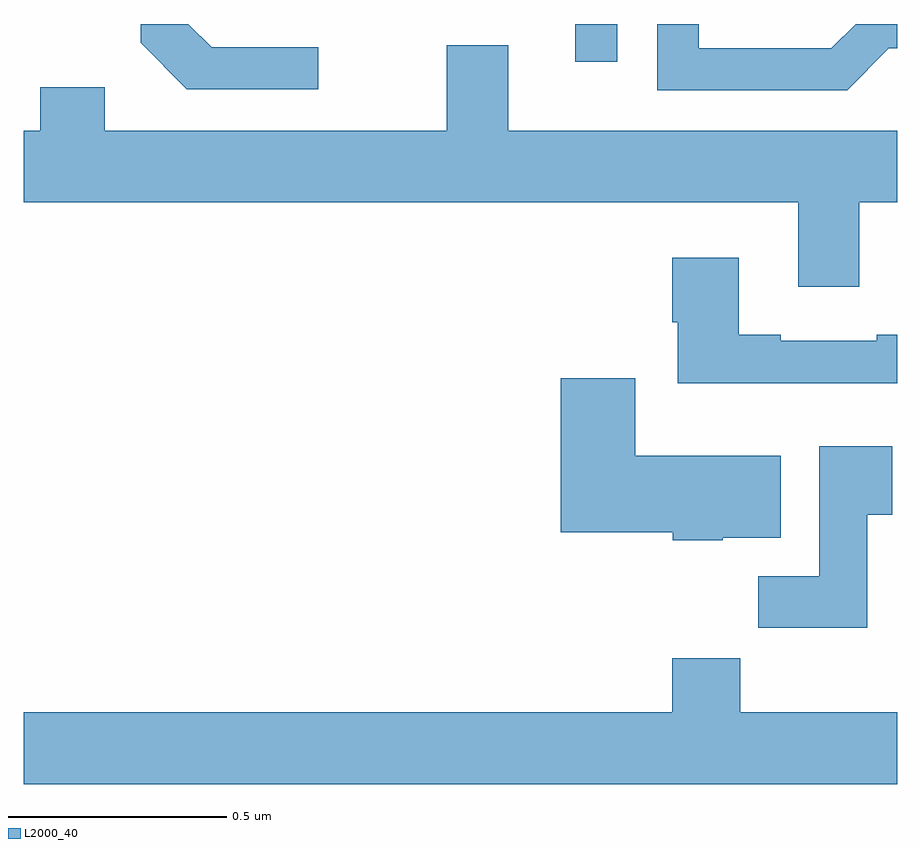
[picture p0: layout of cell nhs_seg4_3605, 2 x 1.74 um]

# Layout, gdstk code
import gdstk
lib = gdstk.Library(unit=1e-6, precision=1e-09)
def R(c, l, rs):  # rectangles x0, y0, x1, y1
    for r in rs: c.add(gdstk.rectangle(r[:2], r[2:], *l))
def P(c, l, *ps):  # polygons
    for p in ps: c.add(gdstk.Polygon(p, *l))
L2000_40 = (2000, 40)

nhs_seg4_3605 = lib.new_cell('nhs_seg4_3605')
R(nhs_seg4_3605, L2000_40, [(156.263,791.814,156.359,791.9)])
P(nhs_seg4_3605, L2000_40, [(156.981,791.844),(157,791.844),(157,791.9),(156.905,791.9),(156.849,791.844),(156.546,791.844),(156.546,791.9),(156.45,791.9),(156.45,791.748),(156.885,791.748)],
  [(155.674,791.847),(155.43,791.847),(155.377,791.9),(155.268,791.9),(155.268,791.857),(155.373,791.751),(155.674,791.751)],
  [(156.913,791.492),(157,791.492),(157,791.656),(156.109,791.656),(156.109,791.851),(155.969,791.851),(155.969,791.656),(155.185,791.656),(155.185,791.755),(155.038,791.755),(155.038,791.656),(155,791.656),(155,791.492),(156.773,791.492),(156.773,791.298),(156.913,791.298)],
  [(157,791.188),(156.953,791.188),(156.953,791.175),(156.733,791.175),(156.733,791.188),(156.637,791.188),(156.637,791.365),(156.485,791.365),(156.485,791.217),(156.497,791.217),(156.497,791.078),(157,791.078)],
  [(156.6,790.724),(156.733,790.724),(156.733,790.912),(156.4,790.912),(156.4,791.089),(156.23,791.089),(156.23,790.736),(156.486,790.736),(156.486,790.718),(156.6,790.718)],
  [(156.931,790.777),(156.988,790.777),(156.988,790.933),(156.821,790.933),(156.821,790.636),(156.682,790.636),(156.682,790.518),(156.931,790.518)],
  [(157,790.324),(156.641,790.324),(156.641,790.448),(156.485,790.448),(156.485,790.324),(155,790.324),(155,790.16),(157,790.16)])

lib.write_gds('nhs_seg4_3605.gds')
